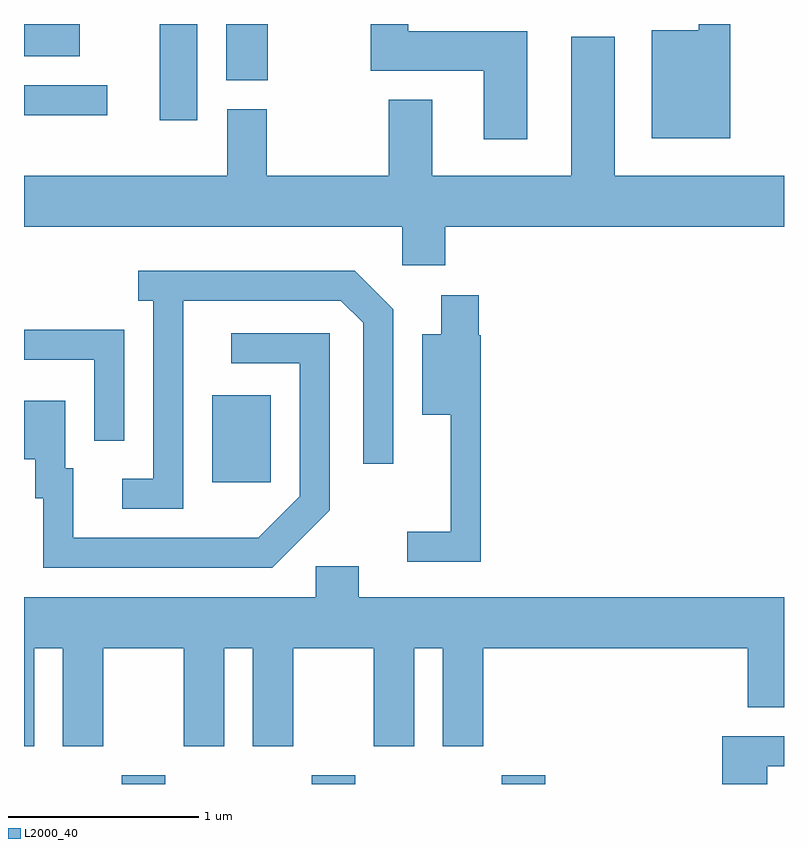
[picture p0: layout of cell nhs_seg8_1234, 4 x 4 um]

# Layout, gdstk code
import gdstk
lib = gdstk.Library(unit=1e-6, precision=1e-09)
def R(c, l, rs):  # rectangles x0, y0, x1, y1
    for r in rs: c.add(gdstk.rectangle(r[:2], r[2:], *l))
def A(c, l, x, y, w, h, nx, ny, dx, dy):  # array of equal rectangles
    R(c, l, [(x+i*dx, y+j*dy, x+i*dx+w, y+j*dy+h) for i in range(nx) for j in range(ny)])
def P(c, l, *ps):  # polygons
    for p in ps: c.add(gdstk.Polygon(p, *l))
L2000_40 = (2000, 40)

nhs_seg8_1234 = lib.new_cell('nhs_seg8_1234')
A(nhs_seg8_1234, L2000_40, 222.126, 1862.342, 0.228, 0.047, 3, 1, 1, 0)
R(nhs_seg8_1234, L2000_40, [(222.601,1863.931,222.909,1864.389), (222.326,1865.836,222.524,1866.342), (221.611,1865.861,222.048,1866.019), (222.676,1866.046,222.894,1866.342), (221.611,1866.171,221.904,1866.342)])
P(nhs_seg8_1234, L2000_40, [(225.329,1866.342),(225.161,1866.342),(225.161,1866.309),(224.916,1866.309),(224.916,1865.741),(225.329,1865.741)],
  [(224.259,1866.304),(223.634,1866.304),(223.634,1866.342),(223.436,1866.342),(223.436,1866.096),(224.031,1866.096),(224.031,1865.736),(224.259,1865.736)],
  [(223.829,1865.276),(225.611,1865.276),(225.611,1865.544),(224.719,1865.544),(224.719,1866.274),(224.491,1866.274),(224.491,1865.544),(223.759,1865.544),(223.759,1865.944),(223.531,1865.944),(223.531,1865.544),(222.889,1865.544),(222.889,1865.894),(222.681,1865.894),(222.681,1865.544),(221.611,1865.544),(221.611,1865.276),(223.601,1865.276),(223.601,1865.071),(223.829,1865.071)],
  [(222.449,1864.886),(223.279,1864.886),(223.396,1864.769),(223.396,1864.028),(223.554,1864.028),(223.554,1864.842),(223.352,1865.044),(222.213,1865.044),(222.213,1864.886),(222.291,1864.886),(222.291,1863.949),(222.128,1863.949),(222.128,1863.791),(222.449,1863.791)],
  [(224.014,1864.705),(224.004,1864.705),(224.004,1864.914),(223.806,1864.914),(223.806,1864.709),(223.706,1864.709),(223.706,1864.286),(223.856,1864.286),(223.856,1863.669),(223.628,1863.669),(223.628,1863.511),(224.014,1863.511)],
  [(222.139,1864.734),(221.611,1864.734),(221.611,1864.576),(221.981,1864.576),(221.981,1864.148),(222.139,1864.148)],
  [(223.219,1863.784),(223.219,1864.714),(222.703,1864.714),(222.703,1864.556),(223.061,1864.556),(223.061,1863.857),(222.844,1863.639),(221.869,1863.639),(221.869,1864.004),(221.829,1864.004),(221.829,1864.359),(221.611,1864.359),(221.611,1864.051),(221.671,1864.051),(221.671,1863.846),(221.711,1863.846),(221.711,1863.481),(222.917,1863.481)],
  [(221.664,1863.056),(221.816,1863.056),(221.816,1862.541),(222.029,1862.541),(222.029,1863.056),(222.451,1863.056),(222.451,1862.541),(222.664,1862.541),(222.664,1863.056),(222.816,1863.056),(222.816,1862.541),(223.029,1862.541),(223.029,1863.056),(223.451,1863.056),(223.451,1862.541),(223.664,1862.541),(223.664,1863.056),(223.816,1863.056),(223.816,1862.541),(224.029,1862.541),(224.029,1863.056),(225.421,1863.056),(225.421,1862.746),(225.611,1862.746),(225.611,1863.324),(223.374,1863.324),(223.374,1863.489),(223.146,1863.489),(223.146,1863.324),(221.611,1863.324),(221.611,1862.541),(221.664,1862.541)],
  [(225.524,1862.436),(225.611,1862.436),(225.611,1862.594),(225.286,1862.594),(225.286,1862.342),(225.524,1862.342)])

lib.write_gds('nhs_seg8_1234.gds')
